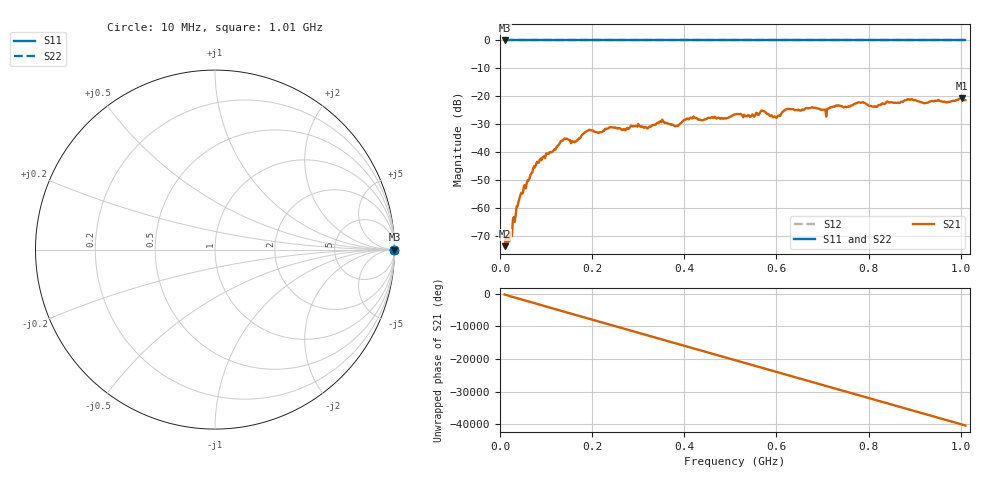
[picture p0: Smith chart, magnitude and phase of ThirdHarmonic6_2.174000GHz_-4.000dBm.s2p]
! 8/17/2025 1:56:02 AM
! C:\ANRITSUVNA\TEMP\TEMP.S2P
! CHANNEL.1
! TR.MEASUREMENT
! RAW.DATA
! RF.CORRECTION.OFF
! AVERAGING.OFF
! IF.BANDWIDTH: 5KHZ
! SWEEPTYPE:  FREQ.SWEEP(Linear)
! Reference Plane Port Info
! PORT:  PORT1  PORT2
! DISTANCE:  0  m  0  m
! TIME:  0  s  0  s
! PHASE.OFFSET:  0  deg.  0  deg.
! LOSS:  0  dB  0  dB
! REF.LOSS:  0  dB  0  dB
! REF.FREQ:  0  Hz  0  Hz
! Power Info
! POWER:  -20  dBm  -20  dBm
! EFF.POWER:  -20  dBm  -20  dBm
! SOURCE.ATTEN:  0  dB  0  dB
! TEST.ATTEN:  0  dB  0  dB
# GHZ S RI R 50.0
! FREQ.GHZ  S11RE  S11IM  S21RE  S21IM  S12RE  S12IM  S22RE  S22IM
!; PortSelection: Port_12
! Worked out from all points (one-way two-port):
!   501 points, 10 MHz to 1.01 GHz, reference 50 ohm
!   highest |S21| = -20.69 dB at 1.002 GHz (marker M1); lowest = -73.5 dB at 10 MHz (marker M2)
!   lowest |S11| = 0.0 dB at 10 MHz (marker M3)
!   |S11| at or under -10 dB: nowhere
!   |S22| runs from 0.0 to 0.0 dB; largest |S21 - S12| = 1.1
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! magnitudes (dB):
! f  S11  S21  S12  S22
! 10 MHz  0.0  -73.5  0.0  0.0
! 22 MHz  0.0  -68.5  0.0  0.0
! 42 MHz  0.0  -56.5  0.0  0.0
! 76 MHz  0.0  -45.3  0.0  0.0
! 136 MHz  0.0  -35.8  0.0  0.0
! 162 MHz  0.0  -36.4  0.0  0.0
! 178 MHz  0.0  -33.7  0.0  0.0
! 194 MHz  0.0  -31.9  0.0  0.0
! 322 MHz  0.0  -31.1  0.0  0.0
! 344 MHz  0.0  -29.5  0.0  0.0
! 382 MHz  0.0  -30.5  0.0  0.0
! 416 MHz  0.0  -27.8  0.0  0.0
! 510 MHz  0.0  -26.4  0.0  0.0
! 570 MHz  0.0  -25.1  0.0  0.0
! 596 MHz  0.0  -27.1  0.0  0.0
! 622 MHz  0.0  -24.6  0.0  0.0
! 678 MHz  0.0  -23.9  0.0  0.0
! 704 MHz  0.0  -24.7  0.0  0.0
! 778 MHz  0.0  -22.1  0.0  0.0
! 844 MHz  0.0  -22.2  0.0  0.0
! 1.002 GHz  0.0  -20.7  0.0  0.0
! 1.01 GHz  0.0  -21.3  0.0  0.0
